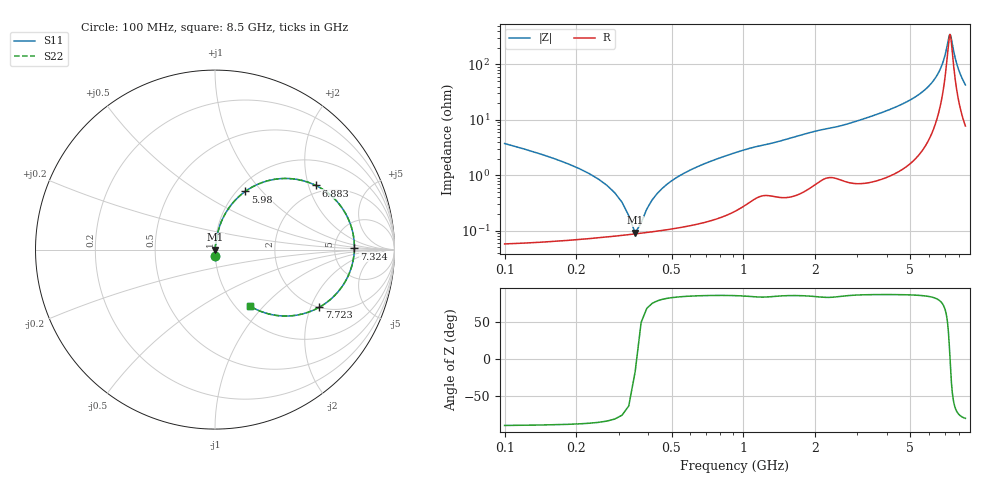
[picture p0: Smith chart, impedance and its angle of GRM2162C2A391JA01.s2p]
!Murata Part Number: GRM2162C2A391JA01
!These Parameters are Measured in Series Mode Connection
!Data Generated on Mar 30, 2021
!  o--ll--o
!Port1  Port2
!  o------o
!Operation Temp=25[degC], DC Bias Voltage=0[V]
!Freq. Start=100[MHz] Stop=9[GHz] 401[Steps]
# Hz S RI R 50
!Freq.(Hz) S11(Real) S11(Imag) S21(Real) S21(Imag) S12(Real) S12(Imag) S22(Real) S22(Imag)
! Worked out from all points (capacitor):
!   401 points, 100 MHz to 8.5 GHz, reference 50 ohm
!   read as one part in series: C = 391 pF near 142 MHz
!   lowest |Z| = 92 mohm at 352 MHz (marker M1)
!   series resonance near 356.3 MHz, so ESL is about 510 pH
!   S11 on the Smith chart (normalised r, x): 100 MHz: 1.00, -0.08; 5.98 GHz: 1.09, +0.81; 6.883 GHz: 1.74, +2.23; 7.324 GHz: 7.95, +0.26; 7.723 GHz: 2.00, -2.30; 8.5 GHz: 1.16, -0.84
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1e8  0.00198 -0.0374  0.998 0.0374  0.998 0.0374  0.00198 -0.0374
1.42e8  0.0012 -0.0241  0.9988 0.0241  0.9988 0.0241  0.0012 -0.0241
2.47e8  0.000821 -0.00852  0.9992 0.00852  0.9992 0.00852  0.000821 -0.00852
3.31e8  0.000855 -0.00167  0.9991 0.00167  0.9991 0.00167  0.000855 -0.00167
3.52e8  0.000878 -0.000272  0.9991 0.000272  0.9991 0.000272  0.000878 -0.000272
3.94e8  0.000937 0.00229  0.9991 -0.00229  0.9991 -0.00229  0.000937 0.00229
4.36e8  0.00101 0.00462  0.999 -0.00462  0.999 -0.00462  0.00101 0.00462
4.99e8  0.00114 0.00781  0.9989 -0.00781  0.9989 -0.00781  0.00114 0.00781
6.67e8  0.0016 0.0153  0.9984 -0.0153  0.9984 -0.0153  0.0016 0.0153
1.003e9  0.00357 0.0283  0.9964 -0.0283  0.9964 -0.0283  0.00357 0.0283
1.507e9  0.0059 0.044  0.9941 -0.044  0.9941 -0.044  0.0059 0.044
2.914e9  0.0153 0.09  0.9847 -0.09  0.9847 -0.09  0.0153 0.09
4.3e9  0.037 0.1595  0.963 -0.1595  0.963 -0.1595  0.037 0.1595
5.707e9  0.1243 0.287  0.8757 -0.287  0.8757 -0.287  0.1243 0.287
5.98e9  0.1687 0.3242  0.8313 -0.3242  0.8313 -0.3242  0.1687 0.3242
6.463e9  0.3145 0.3883  0.6855 -0.3883  0.6855 -0.3883  0.3145 0.3883
6.883e9  0.5617 0.3573  0.4383 -0.3573  0.4383 -0.3573  0.5617 0.3573
7.114e9  0.716 0.2198  0.284 -0.2198  0.284 -0.2198  0.716 0.2198
7.324e9  0.7766 0.00659  0.2234 -0.00659  0.2234 -0.00659  0.7766 0.00659
7.723e9  0.5801 -0.3218  0.4199 0.3218  0.4199 0.3218  0.5801 -0.3218
8.101e9  0.3397 -0.3664  0.6603 0.3664  0.6603 0.3664  0.3397 -0.3664
8.5e9  0.195 -0.3146  0.805 0.3146  0.805 0.3146  0.195 -0.3146
